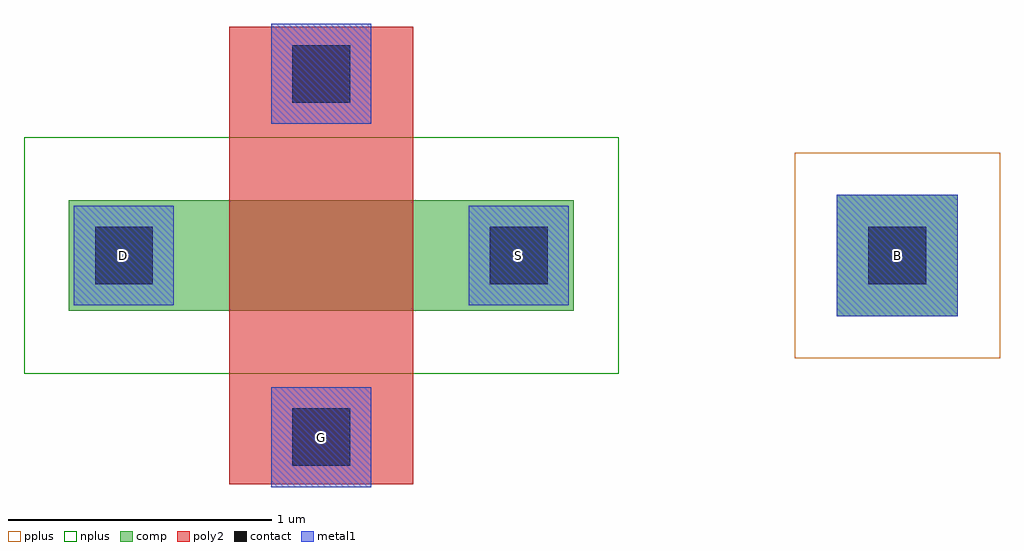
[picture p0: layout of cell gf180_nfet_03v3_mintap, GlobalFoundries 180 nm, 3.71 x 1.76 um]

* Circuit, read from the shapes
.subckt gf180_nfet_03v3_mintap B D G S
XM1 S G D B nfet_03v3 w=0.42u l=0.7u
.ends

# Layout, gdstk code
import gdstk
lib = gdstk.Library(unit=1e-6, precision=1e-09)
def R(c, l, rs):  # rectangles x0, y0, x1, y1
    for r in rs: c.add(gdstk.rectangle(r[:2], r[2:], *l))
comp = (22, 0)
poly2 = (30, 0)
pplus = (31, 0)
nplus = (32, 0)
contact = (33, 0)
metal1 = (34, 0)

nfet = lib.new_cell('nfet')
R(nfet, comp, [(-0.42,0,1.5,0.42)])
R(nfet, poly2, [(0.19,-0.66,0.89,1.08)])
R(nfet, nplus, [(-0.59,-0.24,1.67,0.66)])
R(nfet, contact, [(0.43,-0.59,0.65,-0.37), (-0.32,0.1,-0.1,0.32), (1.18,0.1,1.4,0.32), (0.43,0.79,0.65,1.01)])
R(nfet, metal1, [(0.35,-0.67,0.73,-0.29), (-0.4,0.02,-0.02,0.4), (1.1,0.02,1.48,0.4), (0.35,0.71,0.73,1.09)])

gf180_nfet_03v3_mintap = lib.new_cell('gf180_nfet_03v3_mintap')
R(gf180_nfet_03v3_mintap, comp, [(2.5,-0.02,2.96,0.44)])
R(gf180_nfet_03v3_mintap, pplus, [(2.34,-0.18,3.12,0.6)])
R(gf180_nfet_03v3_mintap, contact, [(2.62,0.1,2.84,0.32)])
R(gf180_nfet_03v3_mintap, metal1, [(2.5,-0.02,2.96,0.44)])
gf180_nfet_03v3_mintap.add(gdstk.Reference(nfet, (0,0)))
gf180_nfet_03v3_mintap.add(gdstk.Label('D', (-0.21,0.21), layer=34, texttype=10))
gf180_nfet_03v3_mintap.add(gdstk.Label('S', (1.29,0.21), layer=34, texttype=10))
gf180_nfet_03v3_mintap.add(gdstk.Label('G', (0.54,-0.48), layer=34, texttype=10))
gf180_nfet_03v3_mintap.add(gdstk.Label('B', (2.73,0.21), layer=34, texttype=10))

lib.write_gds('gf180_nfet_03v3_mintap.gds')
